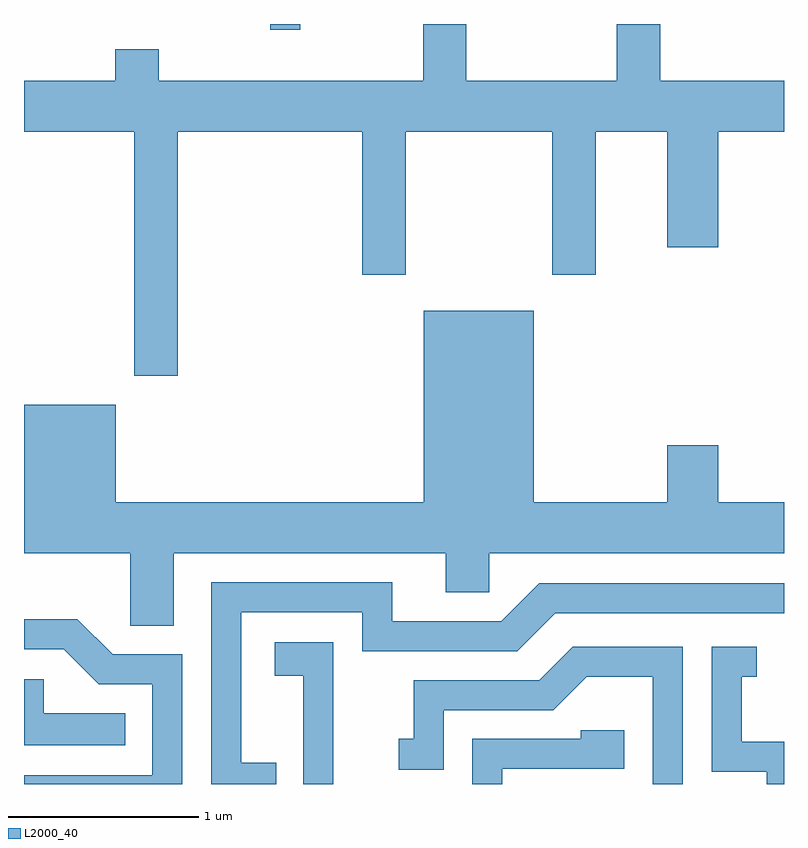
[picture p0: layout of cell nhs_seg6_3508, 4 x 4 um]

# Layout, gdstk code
import gdstk
lib = gdstk.Library(unit=1e-6, precision=1e-09)
def R(c, l, rs):  # rectangles x0, y0, x1, y1
    for r in rs: c.add(gdstk.rectangle(r[:2], r[2:], *l))
def P(c, l, *ps):  # polygons
    for p in ps: c.add(gdstk.Polygon(p, *l))
L2000_40 = (2000, 40)

nhs_seg6_3508 = lib.new_cell('nhs_seg6_3508')
R(nhs_seg6_3508, L2000_40, [(292.906,1546.133,293.064,1546.162)])
P(nhs_seg6_3508, L2000_40, [(292.419,1545.596),(293.391,1545.596),(293.391,1544.841),(293.619,1544.841),(293.619,1545.596),(294.391,1545.596),(294.391,1544.841),(294.619,1544.841),(294.619,1545.596),(294.996,1545.596),(294.996,1544.986),(295.264,1544.986),(295.264,1545.596),(295.611,1545.596),(295.611,1545.864),(294.959,1545.864),(294.959,1546.162),(294.731,1546.162),(294.731,1545.864),(293.939,1545.864),(293.939,1546.162),(293.711,1546.162),(293.711,1545.864),(292.319,1545.864),(292.319,1546.029),(292.091,1546.029),(292.091,1545.864),(291.611,1545.864),(291.611,1545.596),(292.191,1545.596),(292.191,1544.311),(292.419,1544.311)],
  [(292.399,1543.376),(293.831,1543.376),(293.831,1543.171),(294.059,1543.171),(294.059,1543.376),(295.611,1543.376),(295.611,1543.644),(295.264,1543.644),(295.264,1543.944),(294.996,1543.944),(294.996,1543.644),(294.294,1543.644),(294.294,1544.654),(293.716,1544.654),(293.716,1543.644),(292.094,1543.644),(292.094,1544.159),(291.611,1544.159),(291.611,1543.376),(292.171,1543.376),(292.171,1542.996),(292.399,1542.996)],
  [(292.938,1542.274),(292.754,1542.274),(292.754,1543.066),(293.391,1543.066),(293.391,1542.861),(294.207,1542.861),(294.407,1543.061),(295.611,1543.061),(295.611,1543.219),(294.324,1543.219),(294.124,1543.019),(293.549,1543.019),(293.549,1543.224),(292.596,1543.224),(292.596,1542.162),(292.938,1542.162)],
  [(292.444,1542.844),(292.077,1542.844),(291.892,1543.029),(291.611,1543.029),(291.611,1542.871),(291.819,1542.871),(292.004,1542.686),(292.286,1542.686),(292.286,1542.209),(291.611,1542.209),(291.611,1542.162),(292.444,1542.162)],
  [(293.239,1542.909),(292.931,1542.909),(292.931,1542.731),(293.081,1542.731),(293.081,1542.162),(293.239,1542.162)],
  [(295.079,1542.884),(294.499,1542.884),(294.324,1542.709),(293.661,1542.709),(293.661,1542.399),(293.583,1542.399),(293.583,1542.236),(293.819,1542.236),(293.819,1542.551),(294.397,1542.551),(294.572,1542.726),(294.921,1542.726),(294.921,1542.162),(295.079,1542.162)],
  [(295.611,1542.384),(295.389,1542.384),(295.389,1542.726),(295.468,1542.726),(295.468,1542.884),(295.231,1542.884),(295.231,1542.226),(295.521,1542.226),(295.521,1542.162),(295.611,1542.162)],
  [(292.143,1542.534),(291.714,1542.534),(291.714,1542.714),(291.611,1542.714),(291.611,1542.366),(292.143,1542.366)],
  [(294.129,1542.241),(294.769,1542.241),(294.769,1542.444),(294.541,1542.444),(294.541,1542.399),(293.971,1542.399),(293.971,1542.162),(294.129,1542.162)])

lib.write_gds('nhs_seg6_3508.gds')
